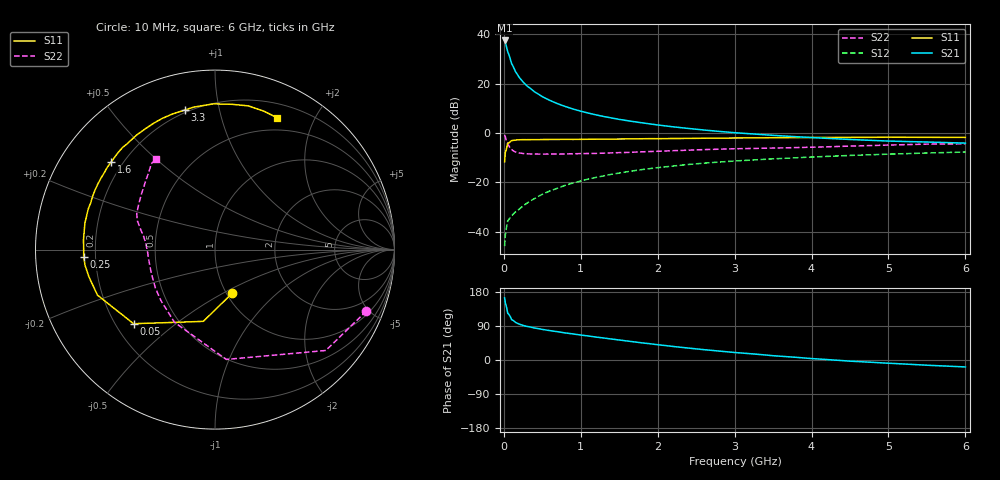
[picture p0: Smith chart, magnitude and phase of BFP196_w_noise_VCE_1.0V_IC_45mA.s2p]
! Infineon Technologies  Discrete & RF Semiconductors
! BFP196
! VCE =  1.0 V,  IC =  45 mA
! Common Emitter S-Parameters:  Jan 2017
# GHz  S  MA  R  50
!  f  S11  S21  S12  S22
! GHz  MAG  ANG  MAG  ANG  MAG  ANG  MAG  ANG
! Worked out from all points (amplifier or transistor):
!   77 points, 10 MHz to 6 GHz, reference 50 ohm
!   highest |S21| = 37.5 dB at 10 MHz (marker M1)
!   |S21| within 3 dB of that: start of sweep to 37.81 MHz
!   unconditionally stable (mu >= 1): 477.7 MHz to 2.769 GHz
!   at 130 MHz: K = 0.64, MSG = 29.5 dB, |S12| = -32.6 dB
!   at 2.2 GHz: K = 1.02, MAG = 7.1 dB, |S12| = -13.4 dB
!   at 6 GHz: K = 0.99, MSG = 1.8 dB, |S12| = -7.7 dB
!   lowest NFmin = 1.39 dB at 450 MHz
!   S11 on the Smith chart (normalised r, x): 10 MHz: 1.07, -0.55; 50 MHz: 0.27, -0.36; 250 MHz: 0.15, -0.03; 1.6 GHz: 0.16, +0.36; 3.3 GHz: 0.19, +0.79; 6 GHz: 0.35, +1.52
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0.01  0.261 -68.1  74.79 163.8  0.0051 74.5  0.9102 -22.1
0.02  0.4051 -99.3  68.59 149.8  0.0087 67.8  0.835 -42.3
0.05  0.6134 -137.7  44.59 123.7  0.0164 49.8  0.6152 -84.1
0.1  0.7023 -158.8  25.71 106.8  0.0208 48.2  0.4635 -119.2
0.15  0.7189 -167.9  17.66 99.4  0.0252 50.4  0.414 -136.7
0.2  0.729 -172.9  13.38 94.7  0.0287 55.1  0.3951 -147.1
0.25  0.7326 -176.8  10.77 91.2  0.0334 57.2  0.3839 -153.9
0.3  0.7316 -179.7  9.001 88.7  0.0378 60.2  0.3787 -159.0
0.4  0.7348 175.7  6.796 84.3  0.0471 62.5  0.3746 -165.5
0.5  0.736 171.8  5.441 80.7  0.0573 64.1  0.3731 -170.0
0.6  0.7398 168.4  4.557 77.5  0.0672 64.6  0.3746 -173.5
0.7  0.7394 165.4  3.911 74.6  0.0765 65.2  0.3743 -176.3
0.9  0.7399 159.3  3.053 68.7  0.097 63.5  0.379 179.7
1.1  0.7463 153.7  2.526 63.3  0.1172 61.9  0.3843 176.2
1.3  0.7499 148.1  2.155 58.0  0.1355 59.6  0.3901 173.4
1.6  0.7569 140.0  1.781 50.2  0.1637 55.4  0.4034 169.6
2.1  0.769 127.1  1.392 38.1  0.2062 48.2  0.432 164.3
3.1  0.7923 105.8  0.989 18.3  0.2761 33.8  0.4821 154.1
3.3  0.796 102.1  0.941 15.0  0.2875 31.3  0.4881 151.6
4.1  0.8115 89.1  0.793 2.5  0.3306 21.4  0.52 141.0
5.1  0.8203 75.6  0.68 -9.5  0.3766 9.7  0.5745 129.5
6  0.8124 64.8  0.624 -18.4  0.4114 -0.1  0.6021 123.1
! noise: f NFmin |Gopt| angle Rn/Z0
0.45  1.39  0.37  -180  0.06
0.9  1.55  0.46  -166  0.07
1.9  2.36  0.68  -133  0.3
2.4  2.76  0.7  -120  0.65
